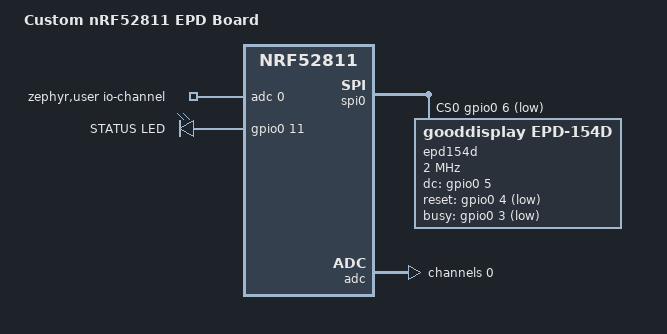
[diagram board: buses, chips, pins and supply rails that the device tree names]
/*
 * Custom nRF52811 board with GDEM0154F51H 1.54-inch 4-color EPD.
 *
 * EPD:
 *   BAT ADC: P0.02
 *   MOSI:    P0.08
 *   CLK:     P0.07
 *   CS:      P0.06
 *   DC:      P0.05
 *   RST:     P0.04
 *   BUSY:    P0.03
 * Status LED:
 *   LED:     P0.11, active high（高电平点亮）
 */

/dts-v1/;
#include <nordic/nrf52811_qfaa.dtsi>
#include <zephyr/dt-bindings/adc/adc.h>
#include <zephyr/dt-bindings/adc/nrf-saadc.h>
#include <zephyr/dt-bindings/gpio/gpio.h>
#include <zephyr/dt-bindings/spi/spi.h>
#include "my_nrf52811-pinctrl.dtsi"

/ {
	model = "Custom nRF52811 EPD Board";
	compatible = "custom,my-nrf52811";

	chosen {
		zephyr,sram = &sram0;
		zephyr,flash = &flash0;
	};

	zephyr,user {
		io-channels = <&adc 0>;
	};

	aliases {
		led0 = &sysled;
		epd0 = &epd154d;
		bat-adc = &bat_adc;
	};

	leds {
		compatible = "gpio-leds";

		sysled: sys-led {
			/* 板上 LED 为高电平点亮（GPIO 推高 -> 导通）。
			 * 代码统一使用 gpio_pin_set_dt() 的逻辑电平，
			 * 因此这里必须声明 ACTIVE_HIGH：逻辑 1 => 物理高 => LED 亮。
			 * 若误写成 ACTIVE_LOW，Zephyr 会把电平取反，
			 * 表现为"连接时常亮的位置是灭的、断开反而亮"。 */
			gpios = <&gpio0 11 GPIO_ACTIVE_HIGH>;
			label = "STATUS LED";
		};
	};
};

&reg {
	regulator-initial-mode = <NRF5X_REG_MODE_DCDC>;
};

&gpiote {
	status = "okay";
};

&gpio0 {
	status = "okay";
};

&spi0 {
	compatible = "nordic,nrf-spim";
	status = "okay";
	cs-gpios = <&gpio0 6 GPIO_ACTIVE_LOW>;
	pinctrl-0 = <&spi0_default>;
	pinctrl-1 = <&spi0_sleep>;
	pinctrl-names = "default", "sleep";

	epd154d: epd@0 {
		compatible = "gooddisplay,epd-154d";
		reg = <0>;
		spi-max-frequency = <2000000>;
		dc-gpios = <&gpio0 5 GPIO_ACTIVE_HIGH>;
		/* GDEM0154F51H RST is active-low (low = reset, high = run).
		 * Kept in sync with the pre-regression driver which asserted
		 * reset by driving the pin low and released it by driving high.
		 */
		reset-gpios = <&gpio0 4 GPIO_ACTIVE_LOW>;
		busy-gpios = <&gpio0 3 GPIO_ACTIVE_LOW>;
		status = "okay";
	};
};

&uart0 {
	status = "disabled";
};

&adc {
	status = "okay";
	#address-cells = <1>;
	#size-cells = <0>;

	bat_adc: channel@0 {
		reg = <0>;
		zephyr,gain = "ADC_GAIN_1_6";
		zephyr,reference = "ADC_REF_INTERNAL";
		zephyr,acquisition-time = <ADC_ACQ_TIME_DEFAULT>;
		zephyr,input-positive = <NRF_SAADC_AIN0>;
		zephyr,resolution = <10>;
	};
};

&flash0 {
	partitions {
		compatible = "fixed-partitions";
		#address-cells = <1>;
		#size-cells = <1>;

		image_partition: partition@0 {
			label = "image-0";
			reg = <0x00000000 0x00030000>;
		};
	};
};
